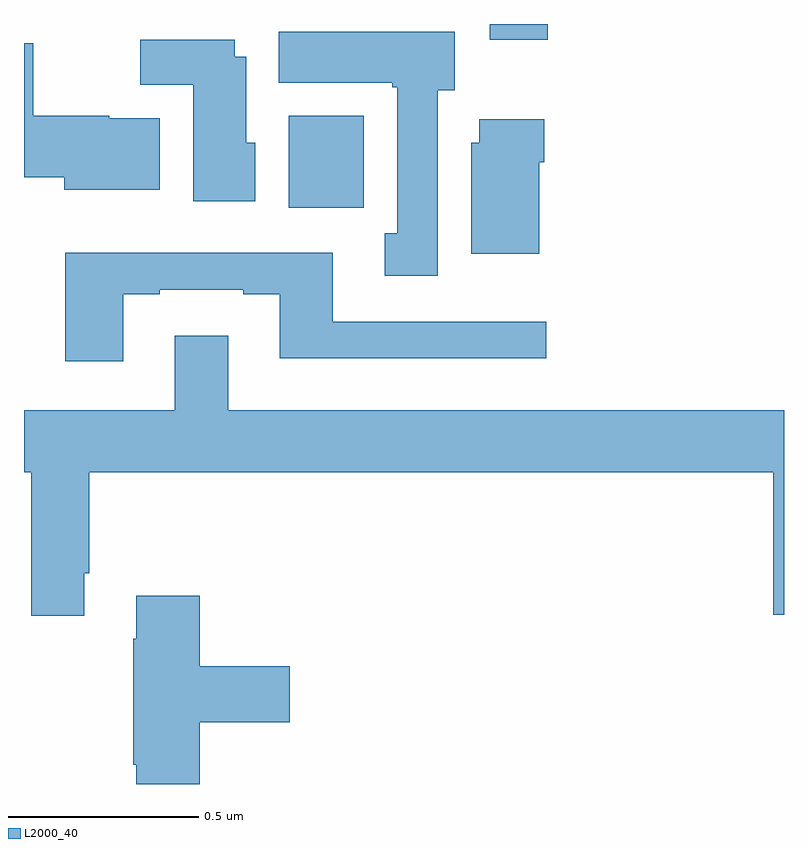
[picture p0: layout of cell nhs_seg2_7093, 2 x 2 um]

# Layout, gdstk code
import gdstk
lib = gdstk.Library(unit=1e-6, precision=1e-09)
def R(c, l, rs):  # rectangles x0, y0, x1, y1
    for r in rs: c.add(gdstk.rectangle(r[:2], r[2:], *l))
def P(c, l, *ps):  # polygons
    for p in ps: c.add(gdstk.Polygon(p, *l))
L2000_40 = (2000, 40)

nhs_seg2_7093 = lib.new_cell('nhs_seg2_7093')
R(nhs_seg2_7093, L2000_40, [(199.697,664.316,199.894,664.558), (200.225,664.758,200.378,664.8)])
P(nhs_seg2_7093, L2000_40, [(200.089,664.626),(200.134,664.626),(200.134,664.78),(199.67,664.78),(199.67,664.646),(199.969,664.646),(199.969,664.633),(199.982,664.633),(199.982,664.25),(199.949,664.25),(199.949,664.137),(200.089,664.137)],
  [(199.609,664.488),(199.585,664.488),(199.585,664.714),(199.555,664.714),(199.555,664.759),(199.306,664.759),(199.306,664.64),(199.445,664.64),(199.445,664.334),(199.609,664.334)],
  [(199.357,664.552),(199.224,664.552),(199.224,664.558),(199.024,664.558),(199.024,664.75),(199,664.75),(199,664.397),(199.106,664.397),(199.106,664.364),(199.357,664.364)],
  [(200.356,664.436),(200.369,664.436),(200.369,664.549),(200.198,664.549),(200.198,664.488),(200.177,664.488),(200.177,664.196),(200.356,664.196)],
  [(199.261,664.089),(199.357,664.089),(199.357,664.101),(199.577,664.101),(199.577,664.089),(199.673,664.089),(199.673,663.92),(200.374,663.92),(200.374,664.017),(199.813,664.017),(199.813,664.198),(199.109,664.198),(199.109,663.912),(199.261,663.912)],
  [(199.159,663.355),(199.172,663.355),(199.172,663.62),(200.972,663.62),(200.972,663.246),(201,663.246),(201,663.784),(199.537,663.784),(199.537,663.979),(199.397,663.979),(199.397,663.784),(199,663.784),(199,663.62),(199.019,663.62),(199.019,663.243),(199.159,663.243)],
  [(199.463,662.963),(199.699,662.963),(199.699,663.11),(199.463,663.11),(199.463,663.295),(199.295,663.295),(199.295,663.182),(199.288,663.182),(199.288,662.851),(199.295,662.851),(199.295,662.8),(199.463,662.8)])

lib.write_gds('nhs_seg2_7093.gds')
